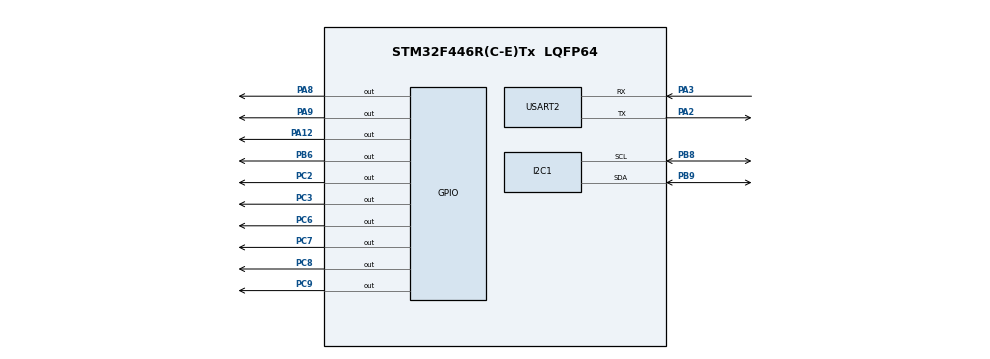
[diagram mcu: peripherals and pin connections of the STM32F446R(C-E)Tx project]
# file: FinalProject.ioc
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Mcu.Family=STM32F4
Mcu.Name=STM32F446R(C-E)Tx
Mcu.Package=LQFP64
NVIC.I2C1_ER_IRQn=true\:0\:0\:false\:false\:true\:true\:true
NVIC.I2C1_EV_IRQn=true\:0\:0\:false\:false\:true\:true\:true
NVIC.PriorityGroup=NVIC_PRIORITYGROUP_4
NVIC.TIM6_DAC_IRQn=true\:0\:0\:false\:false\:true\:true\:true
NVIC.USART2_IRQn=true\:0\:0\:false\:false\:true\:true\:true
PA12.Signal=GPIO_Output
PA2.Mode=Asynchronous
PA2.Signal=USART2_TX
PA3.Mode=Asynchronous
PA3.Signal=USART2_RX
PA8.Signal=GPIO_Output
PA9.Signal=GPIO_Output
PB6.Signal=GPIO_Output
PB8.Mode=I2C
PB8.Signal=I2C1_SCL
PB9.Mode=I2C
PB9.Signal=I2C1_SDA
PC2.Signal=GPIO_Output
PC3.Signal=GPIO_Output
PC6.Signal=GPIO_Output
PC7.Signal=GPIO_Output
PC8.Signal=GPIO_Output
PC9.Signal=GPIO_Output
ProjectManager.HeapSize=0x200
ProjectManager.StackSize=0x400
ProjectManager.TargetToolchain=MDK-ARM V5
RCC.CortexFreq_Value=16000000
RCC.USBFreq_Value=96000000
RCC.VCOOutputFreq_Value=192000000
TIM6.AutoReloadPreload=TIM_AUTORELOAD_PRELOAD_ENABLE
TIM6.Period=1000
TIM6.Prescaler=16000
USART2.VirtualMode=VM_ASYNC
VP_TIM6_VS_ClockSourceINT.Mode=Enable_Timer
board=custom

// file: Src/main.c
/* USER CODE BEGIN Header */
/**
  ******************************************************************************
  * @file           : main.c
  * @brief          : Main program body
  ******************************************************************************
  * @attention
  *
  * <h2><center>&copy; Copyright (c) 2019 STMicroelectronics.
  * All rights reserved.</center></h2>
  *
  * This software component is licensed by ST under BSD 3-Clause license,
  * the "License"; You may not use this file except in compliance with the
  * License. You may obtain a copy of the License at:
  *                        opensource.org/licenses/BSD-3-Clause
  *
  ******************************************************************************
  */
/* USER CODE END Header */

#include "main.h"

I2C_HandleTypeDef hi2c1;

TIM_HandleTypeDef htim6;

UART_HandleTypeDef huart2;

/* USER CODE BEGIN PV */
I2C_HandleTypeDef *wsk; //wskaznik do I2C przekazywany do komunikacji z czujnikami
uint8_t LCDFLAG; //flaga sygnalizujaca nowe dane dla wyswietlacza
char LCDBUFFER1[16]; //bufor dla wyswietlacza

/* USER CODE END PV */

void SystemClock_Config(void);
static void MX_GPIO_Init(void);
static void MX_I2C1_Init(void);
static void MX_TIM6_Init(void);
static void MX_USART2_UART_Init(void);
/* USER CODE BEGIN PFP */
void HAL_TIM_PeriodElapsedCallback(TIM_HandleTypeDef *htim); //Callback timera, wyzwala pomiar
void LCD_REFRESH(Lcd_HandleTypeDef * lcd);

/* USER CODE END PFP */

int main(void)
{

  /* MCU Configuration--------------------------------------------------------*/

  /* Reset of all peripherals, Initializes the Flash interface and the Systick. */
  HAL_Init();

  /* Configure the system clock */
  SystemClock_Config();

  /* Initialize all configured peripherals */
  MX_GPIO_Init();
  MX_I2C1_Init();
  MX_TIM6_Init();
  MX_USART2_UART_Init();
  /* USER CODE BEGIN 2 */

//Inicjalizacja wyswietlacza, przypisanie pinow do LCD
Lcd_PortType ports[] = {GPIOC,GPIOA,GPIOC,GPIOC,GPIOA,GPIOA,GPIOC,GPIOC  };
Lcd_PinType pins[] = {GPIO_PIN_6, GPIO_PIN_12,GPIO_PIN_2, GPIO_PIN_3, GPIO_PIN_9, GPIO_PIN_8, GPIO_PIN_9, GPIO_PIN_8};
Lcd_HandleTypeDef lcd = Lcd_create(ports, pins,  GPIOB, GPIO_PIN_6, GPIOC, GPIO_PIN_7);
LCD_INIT(&lcd);
LCD_STRING(&lcd,"Inicjalizacja", 1);

wsk=&hi2c1; //przypisanie wskaznika do struktury I2C
HTS221_init(wsk); //inicjalizacja czunikСw temperatury i wilgotnosci
HTS221_odczyt(wsk); //pierwszy odczyt
LPS22HB_init(wsk); //inicjalizacja czunikСw cisnienia i temperatury
LPS22HB_odczyt(wsk); //pierwszy odczyt

HAL_TIM_Base_Start_IT(&htim6); //wlaczenie timera wyzwalajacego
  /* USER CODE END 2 */

  /* Infinite loop */
  while (1)
  {
		if (LCDFLAG==1){
		LCD_REFRESH(&lcd);
		LCDFLAG=0;
		}
		else{
		HAL_Delay(10);
		}

  }
}

void SystemClock_Config(void)
{
  RCC_OscInitTypeDef RCC_OscInitStruct = {0};
  RCC_ClkInitTypeDef RCC_ClkInitStruct = {0};

  /** Configure the main internal regulator output voltage
  */
  __HAL_RCC_PWR_CLK_ENABLE();
  __HAL_PWR_VOLTAGESCALING_CONFIG(PWR_REGULATOR_VOLTAGE_SCALE3);
  /** Initializes the CPU, AHB and APB busses clocks
  */
  RCC_OscInitStruct.OscillatorType = RCC_OSCILLATORTYPE_HSI;
  RCC_OscInitStruct.HSIState = RCC_HSI_ON;
  RCC_OscInitStruct.HSICalibrationValue = RCC_HSICALIBRATION_DEFAULT;
  RCC_OscInitStruct.PLL.PLLState = RCC_PLL_NONE;
  if (HAL_RCC_OscConfig(&RCC_OscInitStruct) != HAL_OK)
  {
    Error_Handler();
  }
  /** Initializes the CPU, AHB and APB busses clocks
  */
  RCC_ClkInitStruct.ClockType = RCC_CLOCKTYPE_HCLK|RCC_CLOCKTYPE_SYSCLK
                              |RCC_CLOCKTYPE_PCLK1|RCC_CLOCKTYPE_PCLK2;
  RCC_ClkInitStruct.SYSCLKSource = RCC_SYSCLKSOURCE_HSI;
  RCC_ClkInitStruct.AHBCLKDivider = RCC_SYSCLK_DIV1;
  RCC_ClkInitStruct.APB1CLKDivider = RCC_HCLK_DIV1;
  RCC_ClkInitStruct.APB2CLKDivider = RCC_HCLK_DIV1;

  if (HAL_RCC_ClockConfig(&RCC_ClkInitStruct, FLASH_LATENCY_0) != HAL_OK)
  {
    Error_Handler();
  }
}

static void MX_I2C1_Init(void)
{

  hi2c1.Instance = I2C1;
  hi2c1.Init.ClockSpeed = 100000;
  hi2c1.Init.DutyCycle = I2C_DUTYCYCLE_2;
  hi2c1.Init.OwnAddress1 = 0;
  hi2c1.Init.AddressingMode = I2C_ADDRESSINGMODE_7BIT;
  hi2c1.Init.DualAddressMode = I2C_DUALADDRESS_DISABLE;
  hi2c1.Init.OwnAddress2 = 0;
  hi2c1.Init.GeneralCallMode = I2C_GENERALCALL_DISABLE;
  hi2c1.Init.NoStretchMode = I2C_NOSTRETCH_DISABLE;
  if (HAL_I2C_Init(&hi2c1) != HAL_OK)
  {
    Error_Handler();
  }

}

static void MX_TIM6_Init(void)
{

  TIM_MasterConfigTypeDef sMasterConfig = {0};

  htim6.Instance = TIM6;
  htim6.Init.Prescaler = 16000;
  htim6.Init.CounterMode = TIM_COUNTERMODE_UP;
  htim6.Init.Period = 1000;
  htim6.Init.AutoReloadPreload = TIM_AUTORELOAD_PRELOAD_ENABLE;
  if (HAL_TIM_Base_Init(&htim6) != HAL_OK)
  {
    Error_Handler();
  }
  sMasterConfig.MasterOutputTrigger = TIM_TRGO_RESET;
  sMasterConfig.MasterSlaveMode = TIM_MASTERSLAVEMODE_DISABLE;
  if (HAL_TIMEx_MasterConfigSynchronization(&htim6, &sMasterConfig) != HAL_OK)
  {
    Error_Handler();
  }

}

static void MX_USART2_UART_Init(void)
{

  huart2.Instance = USART2;
  huart2.Init.BaudRate = 115200;
  huart2.Init.WordLength = UART_WORDLENGTH_8B;
  huart2.Init.StopBits = UART_STOPBITS_1;
  huart2.Init.Parity = UART_PARITY_NONE;
  huart2.Init.Mode = UART_MODE_TX_RX;
  huart2.Init.HwFlowCtl = UART_HWCONTROL_NONE;
  huart2.Init.OverSampling = UART_OVERSAMPLING_16;
  if (HAL_UART_Init(&huart2) != HAL_OK)
  {
    Error_Handler();
  }

}

static void MX_GPIO_Init(void)
{
  GPIO_InitTypeDef GPIO_InitStruct = {0};

  /* GPIO Ports Clock Enable */
  __HAL_RCC_GPIOC_CLK_ENABLE();
  __HAL_RCC_GPIOA_CLK_ENABLE();
  __HAL_RCC_GPIOB_CLK_ENABLE();

  /*Configure GPIO pin Output Level */
  HAL_GPIO_WritePin(GPIOC, GPIO_PIN_2|GPIO_PIN_3|GPIO_PIN_6|GPIO_PIN_7
                          |GPIO_PIN_8|GPIO_PIN_9, GPIO_PIN_RESET);

  /*Configure GPIO pin Output Level */
  HAL_GPIO_WritePin(GPIOA, GPIO_PIN_8|GPIO_PIN_9|GPIO_PIN_12, GPIO_PIN_RESET);

  /*Configure GPIO pin Output Level */
  HAL_GPIO_WritePin(GPIOB, GPIO_PIN_6, GPIO_PIN_RESET);

  /*Configure GPIO pins : PC2 PC3 PC6 PC7
                           PC8 PC9 */
  GPIO_InitStruct.Pin = GPIO_PIN_2|GPIO_PIN_3|GPIO_PIN_6|GPIO_PIN_7
                          |GPIO_PIN_8|GPIO_PIN_9;
  GPIO_InitStruct.Mode = GPIO_MODE_OUTPUT_PP;
  GPIO_InitStruct.Pull = GPIO_NOPULL;
  GPIO_InitStruct.Speed = GPIO_SPEED_FREQ_LOW;
  HAL_GPIO_Init(GPIOC, &GPIO_InitStruct);

  /*Configure GPIO pins : PA8 PA9 PA12 */
  GPIO_InitStruct.Pin = GPIO_PIN_8|GPIO_PIN_9|GPIO_PIN_12;
  GPIO_InitStruct.Mode = GPIO_MODE_OUTPUT_PP;
  GPIO_InitStruct.Pull = GPIO_NOPULL;
  GPIO_InitStruct.Speed = GPIO_SPEED_FREQ_LOW;
  HAL_GPIO_Init(GPIOA, &GPIO_InitStruct);

  /*Configure GPIO pin : PB6 */
  GPIO_InitStruct.Pin = GPIO_PIN_6;
  GPIO_InitStruct.Mode = GPIO_MODE_OUTPUT_PP;
  GPIO_InitStruct.Pull = GPIO_NOPULL;
  GPIO_InitStruct.Speed = GPIO_SPEED_FREQ_LOW;
  HAL_GPIO_Init(GPIOB, &GPIO_InitStruct);

}

/* USER CODE BEGIN 4 */
void HAL_TIM_PeriodElapsedCallback(TIM_HandleTypeDef *htim){

	LPS22HB_odczyt(wsk);	//aktualizacja danych
	HTS221_odczyt(wsk);

	HAL_UART_Transmit_IT( &huart2, &Output[0], 5); //wysylanie UARTem danych do komputera
	LCDFLAG=1;
}

void LCD_REFRESH(Lcd_HandleTypeDef * lcd){
	sprintf(LCDBUFFER1,"TEMP:%dC HUM:%d%%",Output[4],Output[1]);
		LCD_STRING(&(*lcd),LCDBUFFER1,2);
			sprintf(LCDBUFFER1,"PRESSURE:%dhPa", ((Output[2]<<8)|Output[3]));
		LCD_STRING(&(*lcd), LCDBUFFER1,1);

}
/* USER CODE END 4 */

void Error_Handler(void)
{
}

/************************ (C) COPYRIGHT STMicroelectronics *****END OF FILE****/
